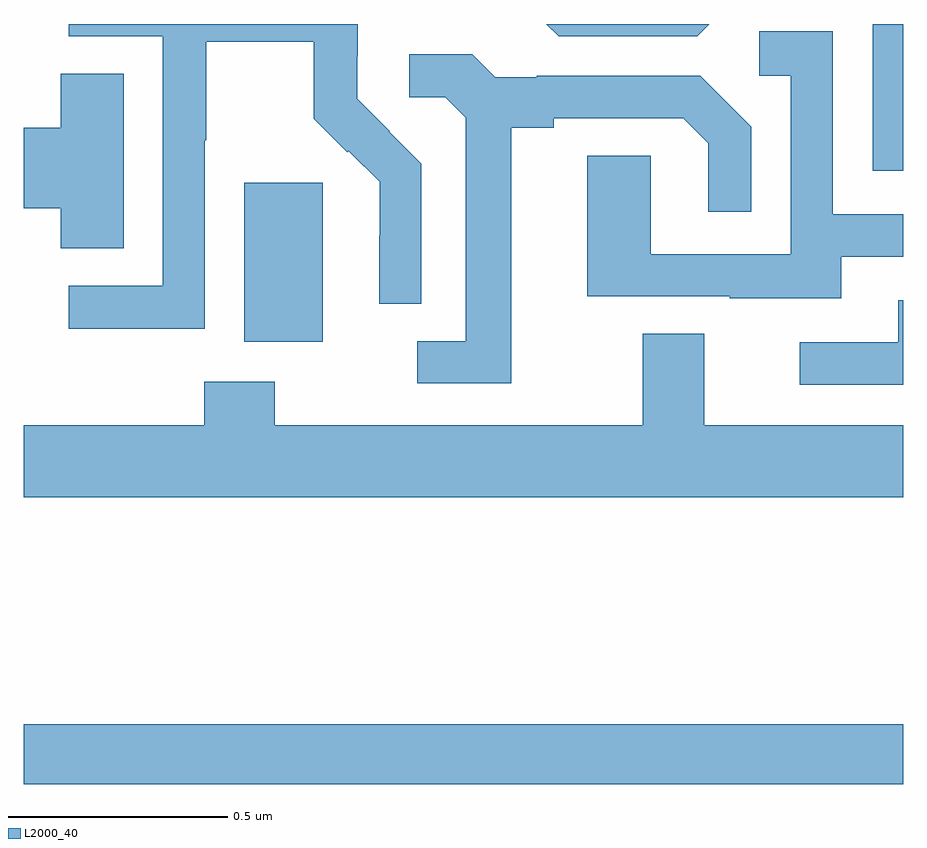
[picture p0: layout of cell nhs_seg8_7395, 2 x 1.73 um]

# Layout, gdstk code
import gdstk
lib = gdstk.Library(unit=1e-6, precision=1e-09)
def R(c, l, rs):  # rectangles x0, y0, x1, y1
    for r in rs: c.add(gdstk.rectangle(r[:2], r[2:], *l))
def P(c, l, *ps):  # polygons
    for p in ps: c.add(gdstk.Polygon(p, *l))
L2000_40 = (2000, 40)

nhs_seg8_7395 = lib.new_cell('nhs_seg8_7395')
R(nhs_seg8_7395, L2000_40, [(209,1125.172,211,1125.308), (209.501,1126.178,209.68,1126.539), (210.93,1126.566,211,1126.9)])
P(nhs_seg8_7395, L2000_40, [(209.412,1126.636),(209.415,1126.636),(209.415,1126.86),(209.659,1126.86),(209.659,1126.685),(209.736,1126.608),(209.739,1126.611),(209.81,1126.541),(209.81,1126.418),(209.808,1126.418),(209.808,1126.264),(209.904,1126.264),(209.904,1126.582),(209.831,1126.655),(209.832,1126.656),(209.758,1126.73),(209.758,1126.827),(209.76,1126.827),(209.76,1126.9),(209.103,1126.9),(209.103,1126.872),(209.316,1126.872),(209.316,1126.305),(209.103,1126.305),(209.103,1126.207),(209.412,1126.207)],
  [(210.559,1126.9),(210.188,1126.9),(210.216,1126.872),(210.531,1126.872)],
  [(210.859,1126.371),(211,1126.371),(211,1126.467),(210.84,1126.467),(210.84,1126.883),(210.672,1126.883),(210.672,1126.782),(210.744,1126.782),(210.744,1126.377),(210.426,1126.377),(210.426,1126.601),(210.281,1126.601),(210.281,1126.281),(210.605,1126.281),(210.605,1126.277),(210.859,1126.277)],
  [(210.109,1126.664),(210.205,1126.664),(210.205,1126.686),(210.5,1126.686),(210.557,1126.629),(210.557,1126.473),(210.654,1126.473),(210.654,1126.666),(210.538,1126.782),(210.166,1126.782),(210.166,1126.779),(210.072,1126.779),(210.02,1126.831),(209.877,1126.831),(209.877,1126.734),(209.958,1126.734),(210.005,1126.687),(210.005,1126.179),(209.895,1126.179),(209.895,1126.083),(210.109,1126.083)],
  [(209.227,1126.787),(209.084,1126.787),(209.084,1126.664),(209,1126.664),(209,1126.481),(209.084,1126.481),(209.084,1126.39),(209.227,1126.39)],
  [(211,1126.272),(210.989,1126.272),(210.989,1126.176),(210.765,1126.176),(210.765,1126.08),(211,1126.08)],
  [(211,1125.988),(210.547,1125.988),(210.547,1126.196),(210.407,1126.196),(210.407,1125.988),(209.571,1125.988),(209.571,1126.087),(209.411,1126.087),(209.411,1125.988),(209,1125.988),(209,1125.824),(211,1125.824)])

lib.write_gds('nhs_seg8_7395.gds')
